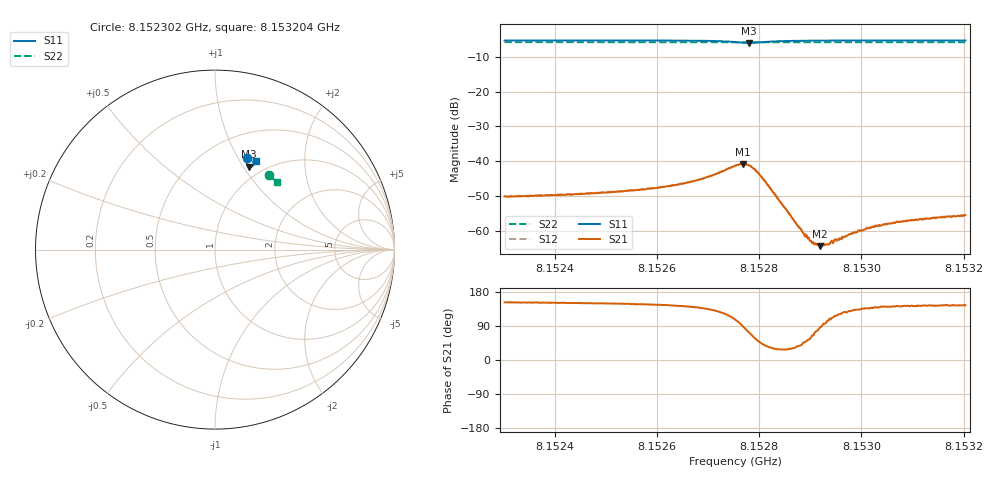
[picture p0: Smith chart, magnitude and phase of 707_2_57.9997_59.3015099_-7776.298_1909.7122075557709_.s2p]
#  HZ  S  RI  R  50.00
! Rohde & Schwarz Vector Network Analyzer
! Rohde-Schwarz,ZNB20-2Port,1311601062101988,3.16
! Created: UTC 3/21/2024, 1:22:01 AM
! freq[Hz]  re:S11  im:S11  re:S21  im:S21  re:S12  im:S12  re:S22  im:S22
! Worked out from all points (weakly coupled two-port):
!   401 points, 8.152302 GHz to 8.153204 GHz, reference 50 ohm
!   highest |S21| = -40.80 dB at 8.152768 GHz (marker M1); lowest = -64.4 dB at 8.15292 GHz (marker M2)
!   lowest |S11| = -6.0 dB at 8.15278 GHz (marker M3), VSWR 2.99, Z = 43.1 + j53 ohm
!   |S11| at or under -10 dB: nowhere
!   |S22| runs from -5.9 to -5.8 dB; largest |S21 - S12| = 0.00016
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8.1523017e9  0.1762 0.5109  -0.00277 0.00147  -0.00275 0.0015  0.3008 0.4136
8.1524528e9  0.1876 0.5069  -0.00293 0.00168  -0.00295 0.00175  0.3083 0.4077
8.1525295e9  0.1938 0.5043  -0.00314 0.00194  -0.00311 0.002  0.3122 0.4046
8.1526039e9  0.2006 0.5009  -0.00348 0.00237  -0.00344 0.00242  0.3159 0.4016
8.1526805e9  0.2097 0.4938  -0.00403 0.00357  -0.00398 0.00369  0.3198 0.3982
8.1527143e9  0.2142 0.4863  -0.00421 0.00498  -0.00416 0.00504  0.3215 0.3965
8.1527527e9  0.2117 0.4677  -0.00255 0.00822  -0.00247 0.00828  0.3229 0.3944
8.1527685e9  0.2004 0.4603  0.000165 0.00912  0.000227 0.00918  0.3232 0.3937
8.1527797e9  0.1888 0.4613  0.00251 0.00834  0.00259 0.00843  0.3233 0.3936
8.152791e9  0.1801 0.4689  0.00402 0.0065  0.00413 0.00658  0.3234 0.3935
8.1528068e9  0.1775 0.4817  0.00422 0.00377  0.00429 0.00382  0.3245 0.3933
8.1528834e9  0.1965 0.4986  0.000757 0.00065  0.000774 0.000649  0.3288 0.3906
8.1528992e9  0.1991 0.4989  0.000407 0.000592  0.000418 0.00061  0.3296 0.39
8.1529037e9  0.1998 0.4988  0.000283 0.000601  0.000321 0.000628  0.3298 0.3897
8.1529195e9  0.2021 0.4987  4.29e-05 0.000602  6.59e-05 0.000634  0.3307 0.3889
8.1529353e9  0.2041 0.4984  -0.000151 0.000619  -0.000138 0.000626  0.3316 0.3885
8.1529466e9  0.2057 0.4982  -0.000305 0.000654  -0.000285 0.000654  0.332 0.3877
8.1529826e9  0.2096 0.4973  -0.000607 0.000703  -0.000576 0.000698  0.3338 0.3863
8.1530097e9  0.2122 0.4967  -0.000779 0.000746  -0.000813 0.000773  0.3351 0.3852
8.1530548e9  0.2161 0.4955  -0.00098 0.000803  -0.00102 0.000799  0.3373 0.3833
8.153145e9  0.2233 0.4928  -0.00123 0.000894  -0.00125 0.000933  0.3414 0.3793
8.1532036e9  0.2275 0.4912  -0.00137 0.000971  -0.0013 0.000993  0.3442 0.3767
